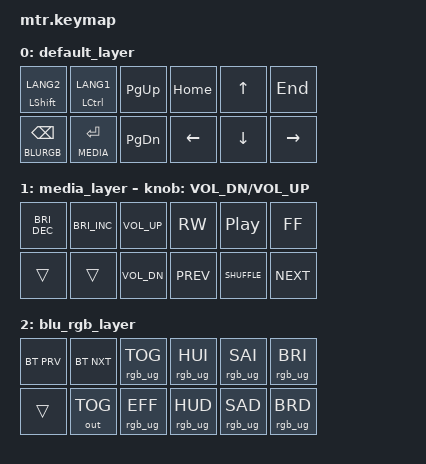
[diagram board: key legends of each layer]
/*
 * Copyright (c) 2023 mentako-ya
 *
 * SPDX-License-Identifier: MIT
 */

#include <behaviors.dtsi>
#include <dt-bindings/zmk/keys.h>
#include <dt-bindings/zmk/bt.h>
#include <dt-bindings/zmk/outputs.h>
#include <dt-bindings/zmk/rgb.h>

#define BASE 0
#define MEDIA  1
#define BLURGB 2


&mt {
  quick-tap-ms = <100>;
  global-quick-tap;
  flavor = "tap-preferred";
  tapping-term-ms = <180>;
};

/ {
    combos {
        compatible = "zmk,combos";
        combo_btclr {
            timeout-ms = <50>;
            layers = <BLURGB>;
            key-positions = <0 1>;
            bindings = <&bt BT_CLR>;
        };
    };
};

/ {
    keymap {
        compatible = "zmk,keymap";

        default_layer {
// | SW10          | SW9           |          | SW4   | SW3   | SW2   | SW1  |
// | SW12          | SW11          |          | SW8   | SW7   | SW6   | SW5  |
            bindings = <
    &mt LSHFT LANG2 &mt LCTRL LANG1            &kp PG_UP &kp HOME &kp UP   &kp END
    &lt BLURGB BSPC &lt MEDIA ENTER            &kp PG_DN &kp LEFT &kp DOWN &kp RIGHT
            >;

//          sensor-bindings = <&inc_dec_kp C_VOL_UP C_VOL_DN &inc_dec_kp PG_UP PG_DN>;
        };
        
        media_layer {
            bindings = <
    &kp C_BRI_DEC   &kp C_BRI_INC              &kp C_VOL_UP &kp C_RW   &kp C_PP      &kp C_FF
    &trans          &trans                     &kp C_VOL_DN &kp C_PREV &kp C_SHUFFLE &kp C_NEXT
            >;
        sensor-bindings = <&inc_dec_kp C_VOL_DN C_VOL_UP>;
        };
        
        blu_rgb_layer {
            bindings = <
    &bt BT_PRV       &bt BT_NXT                 &rgb_ug RGB_TOG &rgb_ug RGB_HUI &rgb_ug RGB_SAI &rgb_ug RGB_BRI
    &trans          &out OUT_TOG               &rgb_ug RGB_EFF &rgb_ug RGB_HUD &rgb_ug RGB_SAD &rgb_ug RGB_BRD
            >;
//        sensor-bindings = <&inc_dec_kp C_VOL_DN C_VOL_UP>;
        };

    };
};
